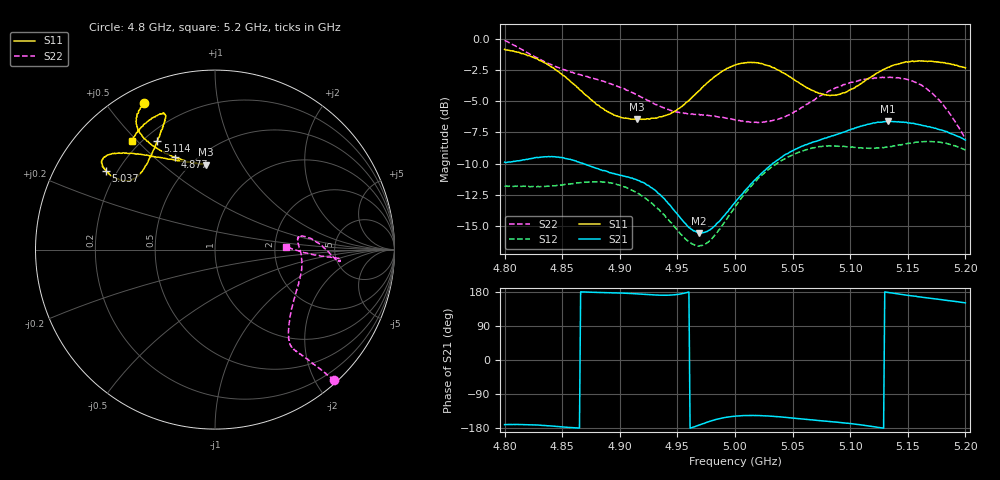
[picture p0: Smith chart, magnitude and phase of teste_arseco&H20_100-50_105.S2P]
! Network Analyzer HP8722D
! Hewlett-Packard
! Data name: Linha & Wilkinson
! Saver's name: Rodrigo Anjos
! Comments: Teste da utilização de aquisição
! continua pelo VNA HP8722D
! Time and date: 6/5/2025 13:26
!  Frequency  S11  S21  S12  S22
# HZ  S  MA R 50
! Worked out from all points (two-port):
!   401 points, 4.8 GHz to 5.2 GHz, reference 50 ohm
!   highest |S21| = -6.60 dB at 5.133 GHz (marker M1); lowest = -15.5 dB at 4.969 GHz (marker M2)
!   |S21| within 3 dB of the highest: 4.822 GHz to 4.854 GHz (32.13 MHz wide, 0.664 % of centre); 5.039 GHz to end of sweep
!   lowest |S11| = -6.5 dB at 4.915 GHz (marker M3), VSWR 2.81, Z = 29.1 + j35.5 ohm
!   |S11| at or under -10 dB: nowhere
!   |S22| runs from -8.0 to -0.1 dB; largest |S21 - S12| = 0.83
!   S11 on the Smith chart (normalised r, x): 4.8 GHz: 0.07, +0.63; 4.877 GHz: 0.39, +0.58; 5.037 GHz: 0.16, +0.32; 5.114 GHz: 0.25, +0.57; 5.2 GHz: 0.17, +0.48
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4.8e9  0.9072 115.8  0.3208 -170.5  0.2572 -86.1  0.9845 -47.5
4.818e9  0.8647 120.3  0.3283 -170.4  0.2569 -82.1  0.8881 -48.6
4.835e9  0.7998 122.6  0.3372 -173.0  0.2564 -76.6  0.8076 -49.7
4.867e9  0.617 117.9  0.3181 179.7  0.2657 -67.3  0.7148 -51.5
4.877e9  0.5603 113.5  0.3062 178.6  0.2677 -66.4  0.6951 -51.9
4.897e9  0.4911 102.7  0.287 177.0  0.2619 -66.4  0.6485 -50.5
4.915e9  0.4754 96.3  0.2722 174.4  0.2416 -68.3  0.5956 -46.3
4.934e9  0.4867 99.2  0.2396 171.1  0.2073 -69.4  0.5383 -37.6
4.948e9  0.5128 107.8  0.2034 172.1  0.1757 -66.6  0.5119 -28.3
4.969e9  0.6193 123.2  0.167 -171.5  0.1481 -48.0  0.498 -15.1
4.98e9  0.6902 129.6  0.1742 -160.0  0.1586 -35.2  0.4907 -9.3
5e9  0.7855 137.3  0.2213 -148.4  0.2128 -21.5  0.4734 -0.4
5.018e9  0.802 141.8  0.2741 -146.5  0.2692 -18.3  0.4634 5.7
5.037e9  0.7498 144.2  0.327 -149.5  0.3183 -18.3  0.4756 9.1
5.067e9  0.6217 141.9  0.385 -158.0  0.3656 -20.6  0.5625 4.5
5.089e9  0.5974 132.4  0.4147 -164.2  0.3716 -23.8  0.6392 -2.0
5.114e9  0.6856 117.9  0.4528 -173.1  0.365 -26.6  0.6894 -5.3
5.133e9  0.7698 111.4  0.4676 178.3  0.3692 -28.6  0.7004 -4.8
5.134e9  0.7702 111.1  0.4654 177.8  0.3693 -28.8  0.7013 -4.8
5.161e9  0.8147 112.5  0.4528 166.2  0.387 -35.1  0.6549 -3.7
5.179e9  0.8035 118.6  0.4312 159.2  0.3844 -40.7  0.5568 -3.1
5.2e9  0.764 127.3  0.393 150.7  0.3588 -46.4  0.3974 2.3
